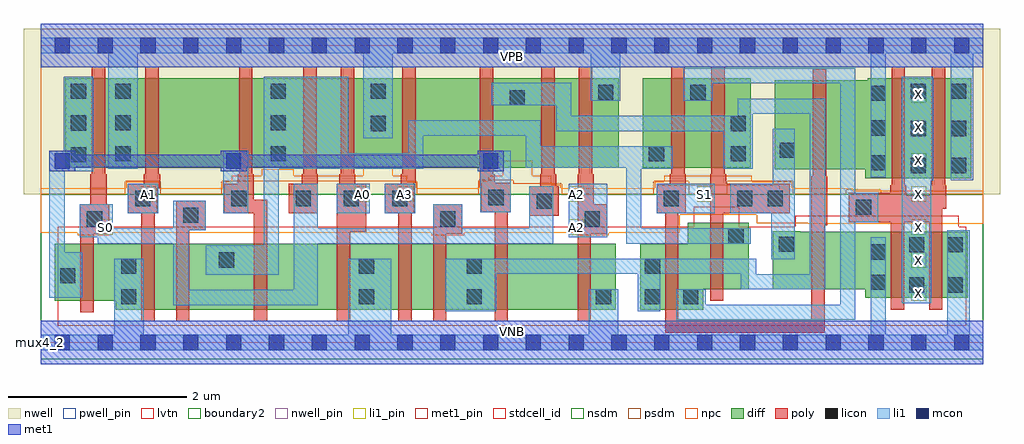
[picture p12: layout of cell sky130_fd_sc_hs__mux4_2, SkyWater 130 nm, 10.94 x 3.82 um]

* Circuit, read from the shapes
.subckt sky130_fd_sc_hs__mux4_2 A0 A1 A2 A3 S0 S1 VGND VNB VPB VPWR X
XM1 VGND S0 n1 VNB sky130_fd_pr__nfet_01v8_lvt w=0.64 l=0.15
XM2 n2 A1 VGND VNB sky130_fd_pr__nfet_01v8_lvt w=0.74 l=0.15
XM3 n3 S0 n2 VNB sky130_fd_pr__nfet_01v8_lvt w=0.74 l=0.15
XM4 n4 n1 n3 VNB sky130_fd_pr__nfet_01v8_lvt w=0.74 l=0.15
XM5 VGND A0 n4 VNB sky130_fd_pr__nfet_01v8_lvt w=0.74 l=0.15
XM6 n5 A3 VGND VNB sky130_fd_pr__nfet_01v8_lvt w=0.74 l=0.15
XM7 n6 S0 n5 VNB sky130_fd_pr__nfet_01v8_lvt w=0.74 l=0.15
XM8 n7 n1 n6 VNB sky130_fd_pr__nfet_01v8_lvt w=0.74 l=0.15
XM9 VGND A2 n7 VNB sky130_fd_pr__nfet_01v8_lvt w=0.74 l=0.15
XM10 n8 S1 n6 VNB sky130_fd_pr__nfet_01v8_lvt w=0.74 l=0.15
XM11 n3 n9 n8 VNB sky130_fd_pr__nfet_01v8_lvt w=0.74 l=0.15
XM12 VGND S1 n9 VNB sky130_fd_pr__nfet_01v8_lvt w=0.64 l=0.15
XM13 X n8 VGND VNB sky130_fd_pr__nfet_01v8_lvt w=0.74 l=0.15 m=2
XM14 VPWR S0 n1 VPB sky130_fd_pr__pfet_01v8 w=1 l=0.15
XM15 n10 A1 VPWR VPB sky130_fd_pr__pfet_01v8 w=1 l=0.15
XM16 n3 n1 n10 VPB sky130_fd_pr__pfet_01v8 w=1 l=0.15
XM17 n11 S0 n3 VPB sky130_fd_pr__pfet_01v8 w=1 l=0.15
XM18 VPWR A0 n11 VPB sky130_fd_pr__pfet_01v8 w=1 l=0.15
XM19 n12 A3 VPWR VPB sky130_fd_pr__pfet_01v8 w=1 l=0.15
XM20 n6 n1 n12 VPB sky130_fd_pr__pfet_01v8 w=1 l=0.15
XM21 n13 S0 n6 VPB sky130_fd_pr__pfet_01v8 w=1 l=0.15
XM22 VPWR A2 n13 VPB sky130_fd_pr__pfet_01v8 w=1 l=0.15
XM23 n8 S1 n3 VPB sky130_fd_pr__pfet_01v8 w=1 l=0.15
XM24 n6 n9 n8 VPB sky130_fd_pr__pfet_01v8 w=1 l=0.15
XM25 VPWR S1 n9 VPB sky130_fd_pr__pfet_01v8 w=1 l=0.15
XM26 X n8 VPWR VPB sky130_fd_pr__pfet_01v8 w=1.12 l=0.15 m=2
.ends

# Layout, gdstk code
import gdstk
lib = gdstk.Library(unit=1e-6, precision=1e-09)
def R(c, l, rs):  # rectangles x0, y0, x1, y1
    for r in rs: c.add(gdstk.rectangle(r[:2], r[2:], *l))
def A(c, l, x, y, w, h, nx, ny, dx, dy):  # array of equal rectangles
    R(c, l, [(x+i*dx, y+j*dy, x+i*dx+w, y+j*dy+h) for i in range(nx) for j in range(ny)])
def P(c, l, *ps):  # polygons
    for p in ps: c.add(gdstk.Polygon(p, *l))
nwell_pin = (64, 16)
nwell = (64, 20)
diff = (65, 20)
poly = (66, 20)
licon = (66, 44)
li1_pin = (67, 16)
li1 = (67, 20)
mcon = (67, 44)
met1_pin = (68, 16)
met1 = (68, 20)
stdcell_id = (81, 4)
nsdm = (93, 44)
psdm = (94, 20)
npc = (95, 20)
pwell_pin = (122, 16)
lvtn = (125, 44)
boundary2 = (236, 0)

sky130_fd_sc_hs__mux4_2 = lib.new_cell('sky130_fd_sc_hs__mux4_2')
R(sky130_fd_sc_hs__mux4_2, nwell_pin, [(0,3.085,10.56,3.33)])
P(sky130_fd_sc_hs__mux4_2, nwell, [(10.75,3.52),(-0.19,3.52),(-0.19,1.66),(6.91,1.66),(6.91,1.76),(8.275,1.76),(8.275,1.66),(10.75,1.66)])
R(sky130_fd_sc_hs__mux4_2, diff, [(0.275,1.96,6.475,2.96), (6.745,1.96,7.955,2.96)])
P(sky130_fd_sc_hs__mux4_2, diff, [(6.445,1.11),(0.155,1.11),(0.155,0.47),(0.84,0.47),(0.84,0.37),(6.445,0.37)],
  [(7.935,1.34),(7.25,1.34),(7.25,1.11),(6.715,1.11),(6.715,0.37),(7.425,0.37),(7.425,0.6),(7.935,0.6)],
  [(10.39,1.24),(8.51,1.24),(8.51,1.245),(8.205,1.245),(8.205,0.6),(9.24,0.6),(9.24,0.5),(10.39,0.5)],
  [(10.425,2.96),(9.27,2.96),(9.27,2.94),(8.225,2.94),(8.225,1.94),(9.24,1.94),(9.24,1.84),(10.425,1.84)])
P(sky130_fd_sc_hs__mux4_2, poly, [(10.15,1.765),(10.135,1.765),(10.135,3.09),(9.985,3.09),(9.985,1.765),(9.97,1.765),(9.97,1.65),(9.7,1.65),(9.7,1.765),(9.685,1.765),(9.685,3.09),(9.535,3.09),(9.535,1.765),(9.52,1.765),(9.52,1.68),(9.055,1.68),(9.055,1.35),(9.525,1.35),(9.525,0.37),(9.675,0.37),(9.675,1.35),(9.955,1.35),(9.955,0.37),(10.105,0.37),(10.105,1.5),(10.15,1.5)],
  [(8.815,1.865),(8.8,1.865),(8.8,3.07),(8.65,3.07),(8.65,1.865),(8.635,1.865),(8.635,0.26),(7.145,0.26),(7.145,1.45),(7.23,1.45),(7.23,1.885),(7.215,1.885),(7.215,3.09),(7.065,3.09),(7.065,1.885),(7.05,1.885),(7.05,1.78),(6.9,1.78),(6.9,1.45),(6.995,1.45),(6.995,0.11),(8.785,0.11),(8.785,1.315),(8.815,1.315)],
  [(8.395,1.78),(7.68,1.78),(7.68,1.885),(7.665,1.885),(7.665,3.09),(7.515,3.09),(7.515,1.885),(7.5,1.885),(7.5,0.47),(7.65,0.47),(7.65,1.45),(8.395,1.45)],
  [(6.345,1.55),(6.195,1.55),(6.195,1.885),(6.18,1.885),(6.18,3.09),(6.03,3.09),(6.03,1.885),(6.015,1.885),(6.015,0.24),(6.165,0.24),(6.165,1.22),(6.345,1.22)],
  [(5.805,1.75),(5.775,1.75),(5.775,1.885),(5.76,1.885),(5.76,3.09),(5.61,3.09),(5.61,1.885),(5.595,1.885),(5.595,1.75),(5.475,1.75),(5.475,1.42),(5.805,1.42)],
  [(5.265,1.79),(5.085,1.79),(5.085,1.885),(5.07,1.885),(5.07,3.09),(4.92,3.09),(4.92,1.79),(4.935,1.79),(4.935,1.46),(5.085,1.46),(5.085,0.24),(5.235,0.24),(5.235,1.46),(5.265,1.46)],
  [(4.725,1.55),(4.395,1.55),(4.395,0.24),(4.545,0.24),(4.545,1.22),(4.725,1.22)],
  [(4.2,3.09),(4.05,3.09),(4.05,1.885),(4.035,1.885),(4.035,1.78),(3.855,1.78),(3.855,1.45),(4.005,1.45),(4.005,0.24),(4.155,0.24),(4.155,1.45),(4.185,1.45),(4.185,1.79),(4.2,1.79)],
  [(3.645,1.78),(3.525,1.78),(3.525,1.885),(3.51,1.885),(3.51,3.09),(3.36,3.09),(3.36,1.885),(3.345,1.885),(3.345,1.78),(3.315,1.78),(3.315,0.24),(3.465,0.24),(3.465,1.24),(3.645,1.24)],
  [(3.105,1.885),(3.09,1.885),(3.09,3.09),(2.94,3.09),(2.94,1.885),(2.925,1.885),(2.925,1.78),(2.775,1.78),(2.775,1.45),(3.105,1.45)],
  [(2.535,1.6),(2.385,1.6),(2.385,1.885),(2.37,1.885),(2.37,3.09),(2.22,3.09),(2.22,1.885),(2.205,1.885),(2.205,1.78),(2.055,1.78),(2.055,1.45),(2.385,1.45),(2.385,0.24),(2.535,0.24)],
  [(1.845,1.59),(1.515,1.59),(1.515,0.24),(1.665,0.24),(1.665,1.26),(1.845,1.26)],
  [(1.335,1.885),(1.32,1.885),(1.32,3.09),(1.17,3.09),(1.17,1.885),(1.155,1.885),(1.155,1.78),(0.975,1.78),(0.975,1.45),(1.125,1.45),(1.125,0.24),(1.275,0.24),(1.275,1.45),(1.305,1.45),(1.305,1.73),(1.335,1.73)],
  [(0.765,1.55),(0.735,1.55),(0.735,1.885),(0.72,1.885),(0.72,3.09),(0.57,3.09),(0.57,1.885),(0.555,1.885),(0.555,1.55),(0.435,1.55),(0.435,1.22),(0.44,1.22),(0.44,0.34),(0.59,0.34),(0.59,1.22),(0.765,1.22)])
A(sky130_fd_sc_hs__mux4_2, licon, 2.855, 1.53, 0.17, 0.17, 3, 1, 0.54, 0)
A(sky130_fd_sc_hs__mux4_2, licon, 9.75, 1.9, 0.17, 0.17, 1, 3, 0, 0.415)
A(sky130_fd_sc_hs__mux4_2, licon, 10.2, 1.9, 0.17, 0.17, 1, 3, 0, 0.415)
A(sky130_fd_sc_hs__mux4_2, licon, 9.3, 1.93, 0.17, 0.17, 1, 3, 0, 0.39)
A(sky130_fd_sc_hs__mux4_2, licon, 0.335, 2.02, 0.17, 0.17, 1, 3, 0, 0.355)
A(sky130_fd_sc_hs__mux4_2, licon, 0.835, 2.03, 0.17, 0.17, 1, 3, 0, 0.35)
A(sky130_fd_sc_hs__mux4_2, licon, 2.575, 2.03, 0.17, 0.17, 1, 3, 0, 0.35)
R(sky130_fd_sc_hs__mux4_2, licon, [(0.9,0.43,1.07,0.6), (3.565,0.43,3.735,0.6), (4.77,0.43,4.94,0.6), (6.22,0.43,6.39,0.6), (6.77,0.43,6.94,0.6), (7.2,0.43,7.37,0.6), (9.73,0.56,9.9,0.73), (10.16,0.56,10.33,0.73), (9.3,0.59,9.47,0.76), (0.215,0.665,0.385,0.835), (0.9,0.77,1.07,0.94), (3.565,0.77,3.735,0.94), (4.77,0.77,4.94,0.94), (6.77,0.77,6.94,0.94), (1.995,0.84,2.165,1.01), (9.3,0.93,9.47,1.1), (9.73,1.01,9.9,1.18), (10.16,1.01,10.33,1.18), (8.27,1.015,8.44,1.185), (7.705,1.11,7.875,1.28), (0.515,1.3,0.685,1.47), (4.475,1.3,4.645,1.47), (6.095,1.3,6.265,1.47), (1.595,1.34,1.765,1.51), (9.135,1.43,9.305,1.6), (5.555,1.5,5.725,1.67), (1.055,1.53,1.225,1.7), (2.135,1.53,2.305,1.7), (6.98,1.53,7.15,1.7), (7.805,1.53,7.975,1.7), (8.145,1.53,8.315,1.7), (5.015,1.54,5.185,1.71), (6.815,2.03,6.985,2.2), (7.73,2.03,7.9,2.2), (8.28,2.07,8.45,2.24), (3.695,2.37,3.865,2.54), (7.73,2.37,7.9,2.54), (5.255,2.66,5.425,2.83), (6.245,2.72,6.415,2.89), (7.28,2.72,7.45,2.89), (3.695,2.73,3.865,2.9)])
A(sky130_fd_sc_hs__mux4_2, li1_pin, 9.755, 0.47, 0.17, 0.17, 1, 7, 0, 0.37)
R(sky130_fd_sc_hs__mux4_2, li1_pin, [(0.635,1.21,0.805,1.38), (5.915,1.21,6.085,1.38), (1.115,1.58,1.285,1.75), (3.515,1.58,3.685,1.75), (3.995,1.58,4.165,1.75), (5.915,1.58,6.085,1.75), (7.355,1.58,7.525,1.75)])
R(sky130_fd_sc_hs__mux4_2, li1, [(5.915,1.18,6.345,1.78), (0.975,1.45,1.315,1.78), (2.045,1.45,2.325,2.15), (3.315,1.45,3.685,1.78), (3.855,1.45,4.195,1.78), (6.9,1.45,7.555,1.78), (4.925,1.46,5.265,2.15)])
P(sky130_fd_sc_hs__mux4_2, li1, [(0,-0.085),(0,0.085),(0.82,0.085),(0.82,0.94),(1.15,0.94),(1.15,0.085),(3.445,0.085),(3.445,0.94),(3.925,0.94),(3.925,0.085),(6.14,0.085),(6.14,0.6),(6.47,0.6),(6.47,0.085),(9.3,0.085),(9.3,1.18),(9.47,1.18),(9.47,0.085),(10.16,0.085),(10.16,1.26),(10.41,1.26),(10.41,0.085),(10.56,0.085),(10.56,-0.085)],
  [(0,3.245),(0,3.415),(10.56,3.415),(10.56,3.245),(10.45,3.245),(10.45,1.82),(10.2,1.82),(10.2,3.245),(9.47,3.245),(9.47,1.85),(9.3,1.85),(9.3,3.245),(6.495,3.245),(6.495,2.71),(6.165,2.71),(6.165,3.245),(3.945,3.245),(3.945,2.29),(3.615,2.29),(3.615,3.245),(1.085,3.245),(1.085,1.95),(0.755,1.95),(0.755,3.245)],
  [(9.65,0.44),(9.65,2.98),(10,2.98),(10,1.82),(9.98,1.82),(9.98,0.44)],
  [(0.805,1.28),(1.485,1.28),(1.485,1.59),(1.845,1.59),(1.845,1.26),(1.655,1.26),(1.655,0.59),(2.835,0.59),(2.835,1.78),(3.105,1.78),(3.105,1.28),(4.395,1.28),(4.395,1.55),(4.725,1.55),(4.725,1.28),(5.475,1.28),(5.475,1.75),(5.745,1.75),(5.745,1.11),(3.105,1.11),(3.105,0.42),(1.485,0.42),(1.485,1.11),(0.635,1.11),(0.635,1.18),(0.435,1.18),(0.435,1.55),(0.805,1.55)],
  [(6.56,1.11),(6.56,1.96),(5.435,1.96),(5.435,2.32),(4.285,2.32),(4.285,1.95),(2.665,1.95),(2.665,0.76),(1.85,0.76),(1.85,1.09),(2.495,1.09),(2.495,2.98),(3.445,2.98),(3.445,2.12),(4.115,2.12),(4.115,2.49),(5.605,2.49),(5.605,2.2),(7.08,2.2),(7.08,1.95),(6.73,1.95),(6.73,1.28),(7.955,1.28),(7.955,1.11)],
  [(8.185,0.935),(8.185,1.45),(7.725,1.45),(7.725,1.78),(8.2,1.78),(8.2,2.395),(8.45,2.395),(8.45,0.935)],
  [(5.945,2.54),(7.81,2.54),(7.81,2.735),(8.79,2.735),(8.79,0.595),(7.845,0.595),(7.845,0.77),(6.94,0.77),(6.94,0.35),(6.69,0.35),(6.69,0.77),(5.105,0.77),(5.105,0.35),(4.53,0.35),(4.53,0.94),(8.015,0.94),(8.015,0.765),(8.62,0.765),(8.62,2.565),(7.98,2.565),(7.98,1.95),(7.65,1.95),(7.65,2.37),(5.775,2.37),(5.775,2.66),(5.055,2.66),(5.055,2.91),(5.945,2.91)],
  [(0.095,2.15),(0.255,2.15),(0.255,2.98),(0.585,2.98),(0.585,1.92),(0.265,1.92),(0.265,1.01),(0.465,1.01),(0.465,0.5),(0.095,0.5)],
  [(7.45,0.425),(8.96,0.425),(8.96,2.905),(7.53,2.905),(7.53,2.71),(7.2,2.71),(7.2,3.075),(9.13,3.075),(9.13,1.68),(9.385,1.68),(9.385,1.35),(9.13,1.35),(9.13,0.255),(7.12,0.255),(7.12,0.6),(7.45,0.6)])
A(sky130_fd_sc_hs__mux4_2, mcon, 0.155, -0.085, 0.17, 0.17, 22, 2, 0.48, 3.33)
R(sky130_fd_sc_hs__mux4_2, mcon, [(0.155,1.95,0.325,2.12), (2.075,1.95,2.245,2.12), (4.955,1.95,5.125,2.12)])
R(sky130_fd_sc_hs__mux4_2, met1_pin, [(0,0,10.56,0.245), (0,3.085,10.56,3.33)])
R(sky130_fd_sc_hs__mux4_2, met1, [(0,-0.245,10.56,0.245), (0,3.085,10.56,3.575)])
P(sky130_fd_sc_hs__mux4_2, met1, [(0.385,2.105),(2.015,2.105),(2.015,2.15),(2.305,2.15),(2.305,2.105),(4.895,2.105),(4.895,2.15),(5.185,2.15),(5.185,1.92),(4.895,1.92),(4.895,1.965),(2.305,1.965),(2.305,1.92),(2.015,1.92),(2.015,1.965),(0.385,1.965),(0.385,1.92),(0.095,1.92),(0.095,2.15),(0.385,2.15)])
R(sky130_fd_sc_hs__mux4_2, stdcell_id, [(0,0,10.56,3.33)])
R(sky130_fd_sc_hs__mux4_2, nsdm, [(0,-0.19,10.56,1.66)])
P(sky130_fd_sc_hs__mux4_2, psdm, [(10.56,3.52),(0,3.52),(0,1.66),(0.945,1.66),(0.945,1.81),(1.335,1.81),(1.335,1.66),(2.025,1.66),(2.025,1.81),(4.215,1.81),(4.215,1.66),(4.905,1.66),(4.905,1.82),(5.295,1.82),(5.295,1.78),(5.835,1.78),(5.835,1.66),(6.87,1.66),(6.87,1.81),(7.26,1.81),(7.26,1.66),(7.695,1.66),(7.695,1.81),(8.425,1.81),(8.425,1.66),(9.025,1.66),(9.025,1.71),(9.415,1.71),(9.415,1.66),(10.56,1.66)])
P(sky130_fd_sc_hs__mux4_2, npc, [(10.56,1.7),(9.1,1.7),(9.1,1.73),(8.415,1.73),(8.415,1.8),(7.97,1.8),(7.97,1.87),(6.985,1.87),(6.985,1.8),(6.88,1.8),(6.88,1.73),(5.825,1.73),(5.825,1.77),(5.72,1.77),(5.72,1.87),(5.505,1.87),(5.505,2.035),(5.175,2.035),(5.175,1.87),(5.02,1.87),(5.02,1.81),(4.915,1.81),(4.915,1.73),(4.205,1.73),(4.205,1.8),(4.1,1.8),(4.1,1.87),(3.945,1.87),(3.945,2.065),(3.615,2.065),(3.615,1.87),(2.835,1.87),(2.835,1.94),(2.475,1.94),(2.475,1.87),(2.14,1.87),(2.14,1.8),(2.035,1.8),(2.035,1.73),(1.325,1.73),(1.325,1.8),(0.955,1.8),(0.955,1.73),(0,1.73),(0,1.23),(0.415,1.23),(0.415,1.2),(0.785,1.2),(0.785,1.23),(4.375,1.23),(4.375,1.2),(4.745,1.2),(4.745,1.23),(5.995,1.23),(5.995,1.2),(6.365,1.2),(6.365,1.23),(7.16,1.23),(7.16,1.43),(8.025,1.43),(8.025,1.335),(8.6,1.335),(8.6,1.33),(10.56,1.33)])
R(sky130_fd_sc_hs__mux4_2, pwell_pin, [(0,0,10.56,0.245)])
P(sky130_fd_sc_hs__mux4_2, lvtn, [(10.37,1.3),(10.285,1.3),(10.285,1.42),(8.455,1.42),(8.455,1.3),(7.83,1.3),(7.83,1.52),(7.32,1.52),(7.32,1.3),(0.19,1.3),(0.19,0.19),(10.37,0.19)])
R(sky130_fd_sc_hs__mux4_2, boundary2, [(0,0,10.56,3.33)])
sky130_fd_sc_hs__mux4_2.add(gdstk.Label('mux4_2', (0,0), layer=83, texttype=44))
sky130_fd_sc_hs__mux4_2.add(gdstk.Label('VNB', (5.28,0.123), layer=64, texttype=59))
sky130_fd_sc_hs__mux4_2.add(gdstk.Label('VPB', (5.28,3.208), layer=64, texttype=5))
sky130_fd_sc_hs__mux4_2.add(gdstk.Label('VPWR', (5.28,3.208), layer=68, texttype=5))
sky130_fd_sc_hs__mux4_2.add(gdstk.Label('VGND', (5.28,0.123), layer=68, texttype=5))
sky130_fd_sc_hs__mux4_2.add(gdstk.Label('X', (9.84,0.555), layer=67, texttype=5))
sky130_fd_sc_hs__mux4_2.add(gdstk.Label('X', (9.84,0.925), layer=67, texttype=5))
sky130_fd_sc_hs__mux4_2.add(gdstk.Label('X', (9.84,1.295), layer=67, texttype=5))
sky130_fd_sc_hs__mux4_2.add(gdstk.Label('X', (9.84,1.665), layer=67, texttype=5))
sky130_fd_sc_hs__mux4_2.add(gdstk.Label('X', (9.84,2.035), layer=67, texttype=5))
sky130_fd_sc_hs__mux4_2.add(gdstk.Label('X', (9.84,2.405), layer=67, texttype=5))
sky130_fd_sc_hs__mux4_2.add(gdstk.Label('X', (9.84,2.775), layer=67, texttype=5))
sky130_fd_sc_hs__mux4_2.add(gdstk.Label('A0', (3.6,1.665), layer=67, texttype=5))
sky130_fd_sc_hs__mux4_2.add(gdstk.Label('A1', (1.2,1.665), layer=67, texttype=5))
sky130_fd_sc_hs__mux4_2.add(gdstk.Label('A3', (4.08,1.665), layer=67, texttype=5))
sky130_fd_sc_hs__mux4_2.add(gdstk.Label('S1', (7.44,1.665), layer=67, texttype=5))
sky130_fd_sc_hs__mux4_2.add(gdstk.Label('S0', (0.72,1.295), layer=67, texttype=5))
sky130_fd_sc_hs__mux4_2.add(gdstk.Label('A2', (6,1.295), layer=67, texttype=5))
sky130_fd_sc_hs__mux4_2.add(gdstk.Label('A2', (6,1.665), layer=67, texttype=5))

lib.write_gds('sky130_fd_sc_hs__mux4_2.gds')
